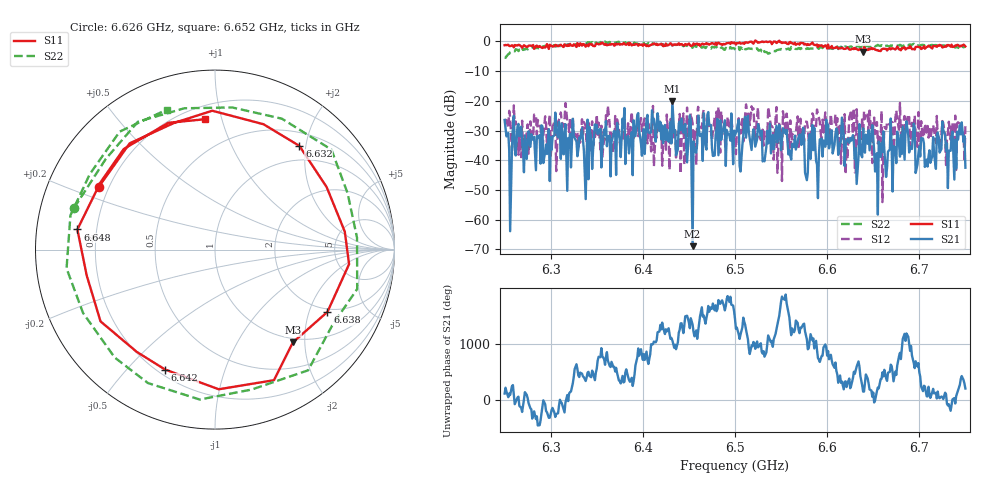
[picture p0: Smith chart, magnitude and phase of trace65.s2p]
# Hz S RI R 50
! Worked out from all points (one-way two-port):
!   401 points, 6.25 GHz to 6.75 GHz, reference 50 ohm
!   highest |S21| = -20.02 dB at 6.432 GHz (marker M1); lowest = -68.9 dB at 6.454 GHz (marker M2)
!   lowest |S11| = -3.4 dB at 6.639 GHz (marker M3), VSWR 5.15, Z = 46.3 - j88 ohm
!   |S11| at or under -10 dB: nowhere
!   |S22| runs from -5.5 to 0.0 dB; largest |S21 - S12| = 0.13
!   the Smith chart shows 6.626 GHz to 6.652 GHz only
!   S11 on the Smith chart (normalised r, x): 6.626 GHz: 0.16, +0.25; 6.632 GHz: 0.72, +1.88; 6.638 GHz: 1.88, -2.67; 6.642 GHz: 0.23, -0.64; 6.648 GHz: 0.13, +0.07; 6.652 GHz: 0.29, +0.88
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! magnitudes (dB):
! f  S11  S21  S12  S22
! 6.25 GHz  -1.3  -26.4  -26.3  -5.5
! 6.255 GHz  -1.5  -36.7  -23.4  -4.2
! 6.266 GHz  -1.2  -31.9  -31.9  -2.8
! 6.334 GHz  -1.4  -29.2  -26.2  -0.9
! 6.418 GHz  -1.0  -30.2  -26.6  -1.5
! 6.432 GHz  -1.3  -20.0  -28.6  -1.4
! 6.454 GHz  -1.4  -68.9  -27.6  -2.1
! 6.471 GHz  -0.8  -23.8  -27.2  -2.2
! 6.5 GHz  -0.7  -31.6  -30.3  -2.6
! 6.584 GHz  -0.4  -28.2  -24.2  -2.4
! 6.59 GHz  -1.9  -52.8  -24.6  -2.1
! 6.62 GHz  -2.5  -35.1  -44.8  -1.7
! 6.626 GHz  -2.7  -33.4  -23.1  -1.7
! 6.632 GHz  -2.6  -48.0  -22.8  -1.7
! 6.638 GHz  -2.9  -39.0  -25.8  -1.7
! 6.639 GHz  -3.4  -29.3  -33.1  -2.2
! 6.642 GHz  -2.8  -31.4  -24.2  -1.5
! 6.648 GHz  -2.2  -31.2  -30.6  -1.6
! 6.652 GHz  -2.8  -43.8  -31.2  -1.7
! 6.668 GHz  -2.3  -36.3  -28.3  -1.7
! 6.744 GHz  -1.7  -28.2  -27.7  -2.3
! 6.75 GHz  -1.7  -42.5  -28.6  -2.0
